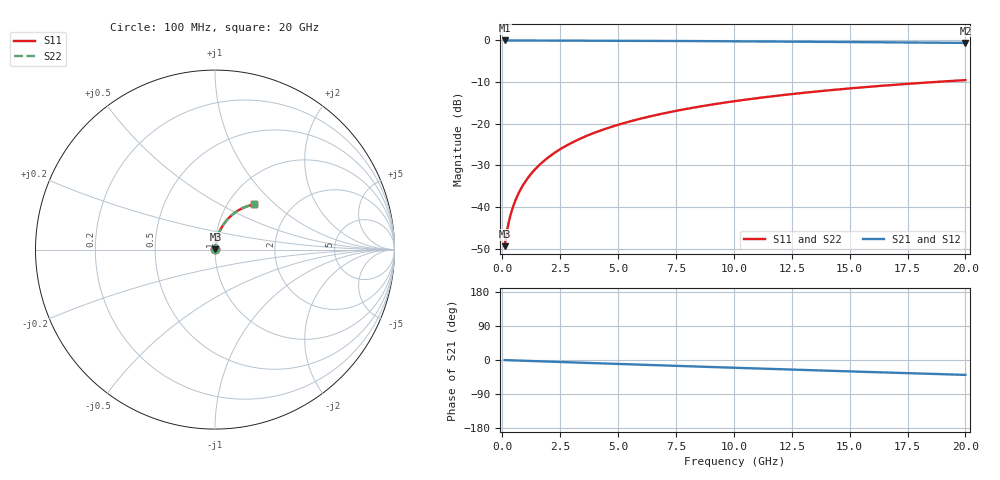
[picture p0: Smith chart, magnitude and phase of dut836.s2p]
! Touchstone file exported from HFSS 2026.1.0
!  File:  C:/ffzhzh/LocalFiles/Ansys_Project_Files/temp_train_TMRDL_836_1783156722_18472.aedt
!  Generated:  05:19:56 PM Jul  4, 2026
!  Design:  TMRDL
!  Project:  temp_train_TMRDL_836_1783156722_18472
! Variables:
!  h_bsmrdl = 2um
!  h_ox = 20um
!  h_rdl = 5um
!  h_sub = 80um
!  h_tmrdl = 3.72um
!  h_tsv = 80um
!  h_via = 3um
!  l_bsmrdl = 300um
!  l_sub = 984.43um
!  l_tmrdl = 584.43um
!  m_sub = 200um
!  pitch = 46.73um
!  r_tsv = 6um
!  s_tmrdl = 10um
!  w_bsmrdl = 18um
!  w_sub = 500um
!  w_tmrdl = 23.45um
!  x_tsv_center1 = 596.155um
!  x_tsv_center2 = 914.155um
!  x_tsv_center3 = 1522.035um
!  x_tsv_center4 = 1840.035um
!  x_tsv_center5 = 2447.915um
!  x_tsv_center6 = 2765.915um
# GHz S MA R 50.000000
! Terminal data exported
! Port[1] = TM_RDL1_1_T1
! Port[2] = TM_RDL1_1_T2
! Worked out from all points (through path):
!   200 points, 100 MHz to 20 GHz, reference 50 ohm
!   highest |S21| = -0.02 dB at 100 MHz (marker M1); lowest = -0.6 dB at 20 GHz (marker M2)
!   group delay of S21, straight-line fit = 5.46 ps
!   lowest |S11| = -49.4 dB at 100 MHz (marker M3), VSWR 1.01, Z = 50.3 + j0.221 ohm
!   |S11| at or under -10 dB: start of sweep to 18.65 GHz
!   |S22| runs from -49.4 to -9.5 dB; largest |S21 - S12| = 3.2e-15
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0.1  0.003399 40.3  0.9974 -0.2  0.9974 -0.2  0.003399 40.3
! Gamma 0 0 0 0
! Port Impedance 50 0 50 0
0.2  0.005126 57.3  0.9973 -0.4  0.9973 -0.4  0.005126 57.3
0.3  0.006999 64.9  0.9971 -0.7  0.9971 -0.7  0.006999 64.9
0.4  0.008886 69.2  0.9969 -0.9  0.9969 -0.9  0.008886 69.2
0.5  0.01078 72.1  0.9968 -1.1  0.9968 -1.1  0.01078 72.1
0.6  0.01267 74.1  0.9967 -1.3  0.9967 -1.3  0.01267 74.1
0.8  0.01649 76.7  0.9966 -1.7  0.9966 -1.7  0.01649 76.7
1.1  0.02227 78.8  0.9964 -2.3  0.9964 -2.3  0.02227 78.8
1.3  0.02615 79.6  0.9962 -2.7  0.9962 -2.7  0.02615 79.6
1.6  0.03198 80.2  0.9959 -3.4  0.9959 -3.4  0.03198 80.2
2.1  0.0417 80.4  0.9954 -4.4  0.9954 -4.4  0.0417 80.4
2.7  0.05334 80.0  0.9946 -5.7  0.9946 -5.7  0.05334 80.0
3.5  0.06873 79.0  0.9932 -7.3  0.9932 -7.3  0.06873 79.0
4.2  0.08206 77.9  0.9918 -8.8  0.9918 -8.8  0.08206 77.9
5  0.0971 76.5  0.99 -10.4  0.99 -10.4  0.0971 76.5
5.9  0.1138 74.8  0.9877 -12.2  0.9877 -12.2  0.1138 74.8
6.8  0.1301 73.2  0.9852 -14.1  0.9852 -14.1  0.1301 73.2
8.3  0.1568 70.3  0.9805 -17.1  0.9805 -17.1  0.1568 70.3
10.1  0.1876 67.0  0.9743 -20.6  0.9743 -20.6  0.1876 67.0
13.4  0.2409 60.8  0.9615 -27.0  0.9615 -27.0  0.2409 60.8
16.7  0.2897 54.8  0.9473 -33.2  0.9473 -33.2  0.2897 54.8
20  0.3335 49.0  0.9323 -39.3  0.9323 -39.3  0.3335 49.0
